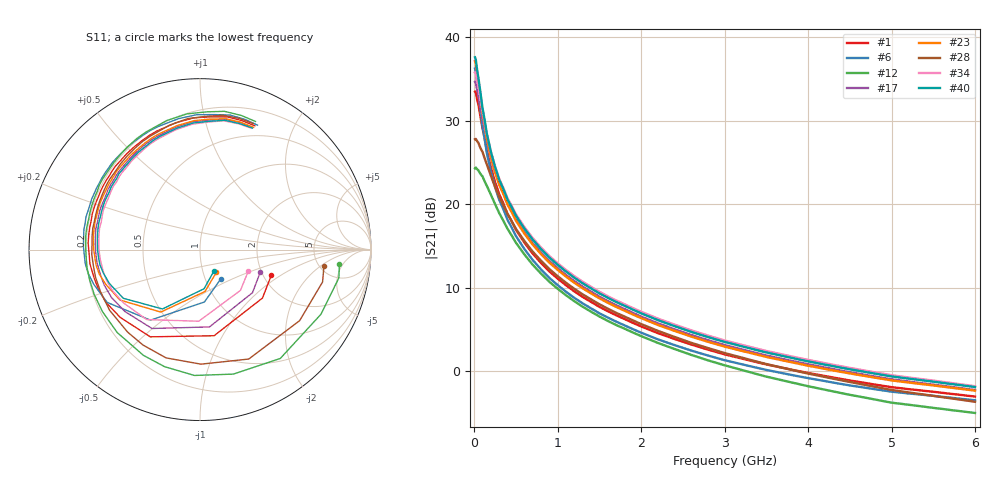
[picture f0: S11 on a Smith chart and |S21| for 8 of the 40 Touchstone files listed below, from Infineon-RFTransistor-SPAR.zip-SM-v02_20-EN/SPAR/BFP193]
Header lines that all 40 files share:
! Infineon Technologies  Discrete & RF Semiconductors
! BFP193
! Common Emitter S-Parameters:  Jan 2017
# GHz  S  MA  R  50
!  f  S11  S21  S12  S22
! GHz  MAG  ANG  MAG  ANG  MAG  ANG  MAG  ANG
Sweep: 10 MHz to 6 GHz
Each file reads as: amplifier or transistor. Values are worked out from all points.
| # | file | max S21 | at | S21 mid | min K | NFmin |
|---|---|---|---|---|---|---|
| 1 | BFP193_w_noise_VCE_1.0V_IC_20mA.s2p | 33.5 dB | 10 MHz | 4.6 dB at 2.2 GHz | 0.08 | 1.05 dB |
| 2 | BFP193_w_noise_VCE_1.0V_IC_25mA.s2p | 34.6 dB | 10 MHz | 4.6 dB at 2.2 GHz | 0.11 | 1.12 dB |
| 3 | BFP193_w_noise_VCE_1.0V_IC_30mA.s2p | 35.4 dB | 10 MHz | 4.5 dB at 2.2 GHz | 0.14 | 1.22 dB |
| 4 | BFP193_w_noise_VCE_1.0V_IC_32mA.s2p | 35.6 dB | 10 MHz | 4.4 dB at 2.2 GHz | 0.16 | 1.24 dB |
| 5 | BFP193_w_noise_VCE_1.0V_IC_35mA.s2p | 35.9 dB | 10 MHz | 4.2 dB at 2.2 GHz | 0.19 | 1.29 dB |
| 6 | BFP193_w_noise_VCE_1.0V_IC_40mA.s2p | 36.3 dB | 10 MHz | 3.8 dB at 2.2 GHz | 0.23 | 1.38 dB |
| 7 | BFP193_w_noise_VCE_1.0V_IC_45mA.s2p | 36.4 dB | 10 MHz | 3.2 dB at 2.2 GHz | 0.30 | 1.45 dB |
| 8 | BFP193_w_noise_VCE_1.0V_IC_48mA.s2p | 36.5 dB | 10 MHz | 2.7 dB at 2.2 GHz | 0.35 | 1.49 dB |
| 9 | BFP193_w_noise_VCE_1.0V_IC_50mA.s2p | 36.4 dB | 10 MHz | 2.4 dB at 2.2 GHz | 0.37 | 1.52 dB |
| 10 | BFP193_w_noise_VCE_1.0V_IC_55mA.s2p | 36.3 dB | 10 MHz | 1.5 dB at 2.2 GHz | 0.43 | 1.60 dB |
| 11 | BFP193_w_noise_VCE_1.0V_IC_60mA.s2p | 36.1 dB | 10 MHz | 0.6 dB at 2.2 GHz | 0.52 | 1.67 dB |
| 12 | BFP193_w_noise_VCE_2.0V_IC_5.0mA.s2p | 24.4 dB | 20 MHz | 3.4 dB at 2.2 GHz | -0.04 | 0.92 dB |
| 13 | BFP193_w_noise_VCE_2.0V_IC_8.0mA.s2p | 27.9 dB | 20 MHz | 4.5 dB at 2.2 GHz | 0.00 | 0.85 dB |
| 14 | BFP193_w_noise_VCE_2.0V_IC_10mA.s2p | 29.4 dB | 20 MHz | 4.8 dB at 2.2 GHz | -0.02 | 0.87 dB |
| 15 | BFP193_w_noise_VCE_2.0V_IC_16mA.s2p | 32.3 dB | 10 MHz | 5.4 dB at 2.2 GHz | 0.04 | 0.97 dB |
| 16 | BFP193_w_noise_VCE_2.0V_IC_20mA.s2p | 33.5 dB | 10 MHz | 5.6 dB at 2.2 GHz | 0.04 | 1.05 dB |
| 17 | BFP193_w_noise_VCE_2.0V_IC_25mA.s2p | 34.7 dB | 10 MHz | 5.7 dB at 2.2 GHz | 0.10 | 1.12 dB |
| 18 | BFP193_w_noise_VCE_2.0V_IC_30mA.s2p | 35.5 dB | 10 MHz | 5.8 dB at 2.2 GHz | 0.13 | 1.22 dB |
| 19 | BFP193_w_noise_VCE_2.0V_IC_32mA.s2p | 35.8 dB | 10 MHz | 5.8 dB at 2.2 GHz | 0.14 | 1.24 dB |
| 20 | BFP193_w_noise_VCE_2.0V_IC_35mA.s2p | 36.1 dB | 10 MHz | 5.8 dB at 2.2 GHz | 0.17 | 1.29 dB |
| 21 | BFP193_w_noise_VCE_2.0V_IC_40mA.s2p | 36.6 dB | 10 MHz | 5.7 dB at 2.2 GHz | 0.19 | 1.38 dB |
| 22 | BFP193_w_noise_VCE_2.0V_IC_45mA.s2p | 37.0 dB | 10 MHz | 5.6 dB at 2.2 GHz | 0.21 | 1.45 dB |
| 23 | BFP193_w_noise_VCE_2.0V_IC_48mA.s2p | 37.2 dB | 10 MHz | 5.5 dB at 2.2 GHz | 0.23 | 1.49 dB |
| 24 | BFP193_w_noise_VCE_2.0V_IC_50mA.s2p | 37.3 dB | 10 MHz | 5.5 dB at 2.2 GHz | 0.24 | 1.52 dB |
| 25 | BFP193_w_noise_VCE_2.0V_IC_55mA.s2p | 37.5 dB | 10 MHz | 5.2 dB at 2.2 GHz | 0.27 | 1.60 dB |
| 26 | BFP193_w_noise_VCE_2.0V_IC_60mA.s2p | 37.6 dB | 10 MHz | 4.9 dB at 2.2 GHz | 0.32 | 1.67 dB |
| 27 | BFP193_w_noise_VCE_3.0V_IC_5.0mA.s2p | 24.3 dB | 20 MHz | 3.7 dB at 2.2 GHz | -0.02 | 0.92 dB |
| 28 | BFP193_w_noise_VCE_3.0V_IC_8.0mA.s2p | 27.8 dB | 20 MHz | 4.8 dB at 2.2 GHz | -0.01 | 0.85 dB |
| 29 | BFP193_w_noise_VCE_3.0V_IC_10mA.s2p | 29.4 dB | 20 MHz | 5.2 dB at 2.2 GHz | 0.04 | 0.87 dB |
| 30 | BFP193_w_noise_VCE_3.0V_IC_16mA.s2p | 32.3 dB | 20 MHz | 5.9 dB at 2.2 GHz | 0.02 | 0.97 dB |
| 31 | BFP193_w_noise_VCE_3.0V_IC_20mA.s2p | 33.5 dB | 10 MHz | 6.1 dB at 2.2 GHz | 0.06 | 1.05 dB |
| 32 | BFP193_w_noise_VCE_3.0V_IC_25mA.s2p | 34.7 dB | 10 MHz | 6.2 dB at 2.2 GHz | 0.09 | 1.12 dB |
| 33 | BFP193_w_noise_VCE_3.0V_IC_30mA.s2p | 35.5 dB | 10 MHz | 6.3 dB at 2.2 GHz | 0.11 | 1.22 dB |
| 34 | BFP193_w_noise_VCE_3.0V_IC_32mA.s2p | 35.8 dB | 10 MHz | 6.3 dB at 2.2 GHz | 0.14 | 1.24 dB |
| 35 | BFP193_w_noise_VCE_3.0V_IC_35mA.s2p | 36.2 dB | 10 MHz | 6.3 dB at 2.2 GHz | 0.16 | 1.29 dB |
| 36 | BFP193_w_noise_VCE_3.0V_IC_40mA.s2p | 36.7 dB | 10 MHz | 6.3 dB at 2.2 GHz | 0.17 | 1.38 dB |
| 37 | BFP193_w_noise_VCE_3.0V_IC_45mA.s2p | 37.1 dB | 10 MHz | 6.3 dB at 2.2 GHz | 0.19 | 1.45 dB |
| 38 | BFP193_w_noise_VCE_3.0V_IC_48mA.s2p | 37.3 dB | 10 MHz | 6.3 dB at 2.2 GHz | 0.21 | 1.49 dB |
| 39 | BFP193_w_noise_VCE_3.0V_IC_50mA.s2p | 37.4 dB | 10 MHz | 6.2 dB at 2.2 GHz | 0.22 | 1.52 dB |
| 40 | BFP193_w_noise_VCE_3.0V_IC_55mA.s2p | 37.6 dB | 10 MHz | 6.1 dB at 2.2 GHz | 0.24 | 1.60 dB |

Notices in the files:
Hoja de datos/BFP 450/Infineon-RFTransistor-SPAR.zip-SM-v02_20-EN/SPAR/BFP193/BFP193_w_noise_VCE_1.0V_IC_20mA.s2p:
(c) 2017  Infineon Technologies AG, Munich
